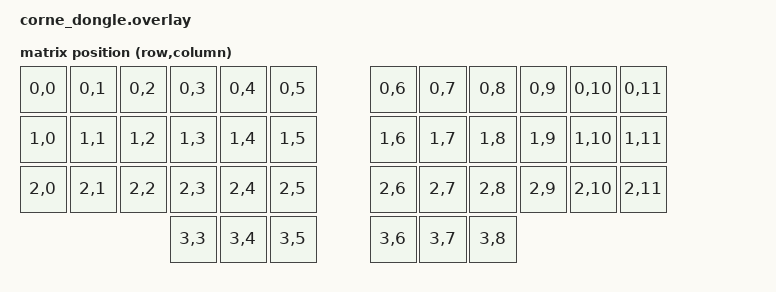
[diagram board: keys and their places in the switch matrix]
/*
 * Corne Dongle Overlay (Multiple Virtual Mice Strategy + OLED)
 */

#include <dt-bindings/zmk/matrix_transform.h>
#include <dt-bindings/zmk/input_transform.h>
#include <input/processors.dtsi>
#include <layouts/foostan/corne/6column.dtsi>

&foostan_corne_6col_layout {
    transform = <&default_transform>;
};

/ {
    chosen {
        /* ▼▼▼ 1. 디스플레이 선택 (여기에 추가됨) ▼▼▼ */
        zephyr,display = &oled;
        zmk,kscan = &mock_kscan;
        zmk,physical-layout = &foostan_corne_6col_layout;
    };

    mock_kscan: mock_kscan_0 {
        compatible = "zmk,kscan-mock";
        rows = <4>;
        columns = <12>;
        events = <0>;
    };

    default_transform: keymap_transform {
        compatible = "zmk,matrix-transform";
        rows = <4>;
        columns = <12>;
        map = <
            RC(0,0) RC(0,1) RC(0,2) RC(0,3) RC(0,4) RC(0,5)  RC(0,6) RC(0,7) RC(0,8) RC(0,9) RC(0,10) RC(0,11)
            RC(1,0) RC(1,1) RC(1,2) RC(1,3) RC(1,4) RC(1,5)  RC(1,6) RC(1,7) RC(1,8) RC(1,9) RC(1,10) RC(1,11)
            RC(2,0) RC(2,1) RC(2,2) RC(2,3) RC(2,4) RC(2,5)  RC(2,6) RC(2,7) RC(2,8) RC(2,9) RC(2,10) RC(2,11)
                                    RC(3,3) RC(3,4) RC(3,5)  RC(3,6) RC(3,7) RC(3,8)
        >;
    };

    /* 2. 트랙패드 하드웨어 연결 */
    split_inputs {
        #address-cells = <1>;
        #size-cells = <0>;
        tps43_split: tps43_split@74 {
            compatible = "zmk,input-split";
            reg = <0x74>;
        };
    };

    /* === 리스너 설정 (속도 조절 담당) === */
    /* A. 트랙패드 (단일 속도 고정 - 에러 방지) */
    tp_listener {
        compatible = "zmk,input-listener";
        device = <&tps43_split>;
        
        /* 트랙패드는 하나뿐이라 레이어 구분을 못하므로, 가장 편한 속도 하나로 고정합니다 */
        /* <3 2>는 1.5배 속도입니다. */
        input-processors = <&zip_xy_transform (INPUT_TRANSFORM_XY_SWAP | INPUT_TRANSFORM_X_INVERT)>, 
                           <&zip_scroll_transform (INPUT_TRANSFORM_XY_SWAP)>,
                           <&zip_temp_layer 4 500>,
                           <&zip_xy_scaler 3 2>; 
    };

}; 
/* ▲▲▲ 중요: 루트 노드(/)는 여기서 끝납니다! 닫는 괄호 필수! ▲▲▲ */


/* ▼▼▼ 3. OLED 디스플레이 설정 (반드시 루트 노드 바깥에 위치) ▼▼▼ */
&pro_micro_i2c {
    status = "okay";

    oled: ssd1306@3c {
        compatible = "sinowealth,sh1106";
        reg = <0x3c>;
        width = <128>;
        height = <64>;  /* ← 32에서 64로 변경! */
        segment-offset = <2>;
        page-offset = <0>;
        display-offset = <0>;
        multiplex-ratio = <63>;  /* ← 31에서 63으로 변경! */
        segment-remap;
        com-invdir;
        prechargep = <0x22>;
        inversion-on;
    };
};




